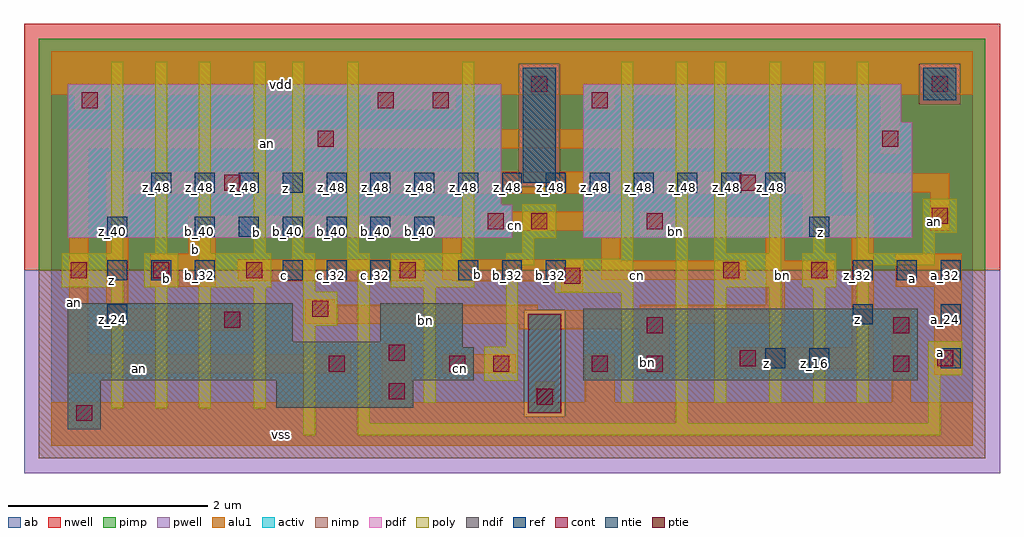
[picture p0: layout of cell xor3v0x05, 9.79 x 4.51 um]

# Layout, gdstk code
import gdstk
lib = gdstk.Library(unit=1e-6, precision=2.5e-09)
def R(c, l, rs):  # rectangles x0, y0, x1, y1
    for r in rs: c.add(gdstk.rectangle(r[:2], r[2:], *l))
def A(c, l, x, y, w, h, nx, ny, dx, dy):  # array of equal rectangles
    R(c, l, [(x+i*dx, y+j*dy, x+i*dx+w, y+j*dy+h) for i in range(nx) for j in range(ny)])
ndif = (3, 0)
pdif = (4, 0)
ntie = (5, 0)
ptie = (6, 0)
ref = (24, 0)
cont = (25, 0)
pwell = (41, 0)
nwell = (42, 0)
activ = (43, 0)
pimp = (44, 0)
nimp = (45, 0)
poly = (46, 0)
alu1 = (49, 0)
ab = (63, 0)

xor3v0x05 = lib.new_cell('xor3v0x05')
R(xor3v0x05, ndif, [(0.165,0.165,0.495,0.66), (2.255,0.385,3.63,0.66), (0.165,0.66,4.235,0.99), (5.335,0.66,8.69,1.375), (0.165,0.99,4.125,1.045), (0.165,1.045,2.42,1.43), (3.3,1.045,4.125,1.43)])
R(xor3v0x05, pdif, [(0.165,2.09,4.62,2.42), (5.335,2.09,8.635,3.245), (0.165,2.42,4.51,3.63), (5.335,3.245,8.525,3.63)])
R(xor3v0x05, ntie, [(4.73,2.64,5.06,3.795), (8.745,3.465,9.075,3.795)])
R(xor3v0x05, ptie, [(4.785,0.33,5.115,1.32)])
A(xor3v0x05, ref, 0.56, 1.66, 0.2, 0.2, 3, 1, 0.44, 0)
A(xor3v0x05, ref, 2.32, 1.66, 0.2, 0.2, 3, 1, 0.44, 0)
A(xor3v0x05, ref, 4.08, 1.66, 0.2, 0.2, 3, 1, 0.44, 0)
A(xor3v0x05, ref, 8.04, 1.66, 0.2, 0.2, 3, 1, 0.44, 0)
A(xor3v0x05, ref, 1.44, 2.1, 0.2, 0.2, 6, 1, 0.44, 0)
A(xor3v0x05, ref, 1, 2.54, 0.2, 0.2, 15, 1, 0.44, 0)
R(xor3v0x05, ref, [(7.16,0.78,7.36,0.98), (7.6,0.78,7.8,0.98), (8.92,0.78,9.12,0.98), (0.56,1.22,0.76,1.42), (8.04,1.22,8.24,1.42), (8.92,1.22,9.12,1.42), (0.56,2.1,0.76,2.3), (7.6,2.1,7.8,2.3)])
R(xor3v0x05, cont, [(0.25,0.25,0.41,0.41), (4.87,0.415,5.03,0.575), (3.385,0.47,3.545,0.63), (2.78,0.745,2.94,0.905), (3.99,0.745,4.15,0.905), (4.43,0.745,4.59,0.905), (5.42,0.745,5.58,0.905), (5.97,0.745,6.13,0.905), (8.445,0.745,8.605,0.905), (6.905,0.8,7.065,0.96), (8.885,0.8,9.045,0.96), (3.385,0.855,3.545,1.015), (5.97,1.13,6.13,1.29), (8.445,1.13,8.605,1.29), (1.735,1.185,1.895,1.345), (2.615,1.295,2.775,1.455), (5.145,1.625,5.305,1.785), (0.195,1.68,0.355,1.84), (1.02,1.68,1.18,1.84), (1.955,1.68,2.115,1.84), (3.495,1.68,3.655,1.84), (6.74,1.68,6.9,1.84), (7.62,1.68,7.78,1.84), (4.375,2.175,4.535,2.335), (4.815,2.175,4.975,2.335), (5.97,2.175,6.13,2.335), (8.83,2.23,8.99,2.39), (1.735,2.56,1.895,2.72), (6.905,2.56,7.065,2.72), (2.67,3,2.83,3.16), (8.335,3,8.495,3.16), (0.305,3.385,0.465,3.545), (3.275,3.385,3.435,3.545), (3.825,3.385,3.985,3.545), (5.42,3.385,5.58,3.545), (4.815,3.55,4.975,3.71), (8.83,3.55,8.99,3.71)])
R(xor3v0x05, pwell, [(-0.275,-0.275,9.515,1.76)])
R(xor3v0x05, nwell, [(-0.275,1.76,9.515,4.235)])
R(xor3v0x05, activ, [(0.165,0.165,0.495,0.66), (4.785,0.33,5.115,1.32), (2.255,0.385,3.63,0.66), (0.165,0.66,4.235,0.99), (5.335,0.66,8.69,1.375), (0.165,0.99,4.125,1.045), (0.165,1.045,2.42,1.43), (3.3,1.045,4.125,1.43), (0.165,2.09,4.62,2.42), (5.335,2.09,8.635,3.245), (0.165,2.42,4.51,3.63), (4.73,2.64,5.06,3.795), (5.335,3.245,8.525,3.63), (8.745,3.465,9.075,3.795)])
R(xor3v0x05, pimp, [(4.745,0.29,5.155,1.36), (-0.125,1.76,9.365,2.6), (-0.125,2.6,4.69,3.835), (5.1,2.6,9.365,3.425), (5.1,3.425,8.705,3.835), (9.115,3.425,9.365,3.835), (-0.125,3.835,9.365,4.085)])
R(xor3v0x05, nimp, [(-0.125,-0.125,9.365,0.29), (-0.125,0.29,4.745,1.36), (5.155,0.29,9.365,1.36), (-0.125,1.36,9.365,1.76), (4.69,2.6,5.1,3.835), (8.705,3.425,9.115,3.835)])
A(xor3v0x05, poly, 0.6, 0.38, 0.12, 1.21, 3, 1, 0.44, 0)
A(xor3v0x05, poly, 0.6, 1.93, 0.12, 1.925, 3, 1, 0.44, 0)
A(xor3v0x05, poly, 7.2, 1.93, 0.12, 1.925, 3, 1, 0.44, 0)
R(xor3v0x05, poly, [(2.525,0.105,2.645,1.205), (3.075,0.105,8.915,0.225), (3.075,0.225,3.195,1.755), (6.265,0.225,6.385,3.855), (8.795,0.225,8.915,0.71), (2.03,0.38,2.15,1.59), (3.735,0.435,3.855,1.59), (5.715,0.435,5.835,1.535), (6.65,0.435,6.77,1.59), (7.2,0.435,7.32,1.59), (7.64,0.435,7.76,1.59), (8.08,0.435,8.2,1.81), (4.34,0.655,4.68,0.995), (8.795,0.71,9.135,1.05), (4.56,0.995,4.68,1.81), (2.525,1.205,2.865,1.545), (5.055,1.535,5.835,1.875), (2.525,1.545,2.645,1.755), (0.105,1.59,0.72,1.93), (0.93,1.59,1.27,1.93), (1.48,1.59,2.205,1.93), (3.405,1.59,4.24,1.93), (6.65,1.59,7.32,1.93), (7.53,1.59,7.87,1.93), (2.415,1.755,2.645,1.93), (2.965,1.755,3.195,1.93), (4.56,1.81,4.845,1.93), (8.08,1.81,8.86,1.93), (5.715,1.875,5.835,3.855), (2.03,1.93,2.15,3.855), (2.415,1.93,2.535,3.855), (2.965,1.93,3.085,3.855), (4.12,1.93,4.24,3.855), (4.725,1.93,4.845,2.085), (6.65,1.93,6.77,3.855), (8.74,1.93,8.86,2.14), (4.725,2.085,5.065,2.425), (8.74,2.14,9.08,2.48)])
R(xor3v0x05, alu1, [(0,0,9.24,0.44), (3.315,0.44,3.615,1.03), (4.855,0.44,5.045,0.645), (5.35,0.44,5.65,0.92), (8.43,0.44,8.62,1.36), (8.855,0.715,9.13,1.595), (0.18,0.73,3.01,0.92), (3.92,0.73,4.66,0.92), (5.9,0.73,6.2,1.17), (6.82,0.77,8.25,0.99), (0.18,0.92,0.37,2.985), (8.03,0.99,8.25,2.09), (0.55,1.155,1.98,1.375), (4.69,1.17,6.2,1.225), (2.545,1.225,7.355,1.36), (2.545,1.36,4.88,1.415), (5.9,1.36,7.355,1.415), (0.55,1.375,0.77,2.53), (2.545,1.415,2.845,1.47), (7.165,1.415,7.355,1.665), (5.115,1.54,5.335,1.65), (0.99,1.595,1.65,1.925), (8.47,1.595,9.13,1.925), (1.87,1.65,3.74,1.87), (4.015,1.65,5.335,1.665), (3.92,1.665,5.335,1.87), (5.515,1.665,6.97,1.855), (7.165,1.665,7.85,1.855), (5.515,1.855,5.705,2.16), (7.165,1.855,7.355,2.105), (3.92,1.87,4.11,2.09), (1.375,1.925,1.65,2.09), (1.375,2.09,4.11,2.295), (7.535,2.09,8.25,2.31), (5.9,2.105,7.355,2.295), (4.305,2.16,5.705,2.35), (8.815,2.16,9.005,2.545), (1.375,2.295,4.015,2.31), (5.9,2.295,6.2,2.35), (7.535,2.31,7.755,2.53), (0.55,2.53,7.755,2.75), (7.935,2.545,9.005,2.735), (7.935,2.735,8.125,2.985), (8.32,2.93,8.51,3.52), (0.18,2.985,8.125,3.175), (0.235,3.37,0.535,3.52), (3.205,3.37,4.055,3.52), (5.35,3.37,5.65,3.52), (0,3.52,9.24,3.96)])
R(xor3v0x05, ab, [(0,0,9.24,3.96)])
xor3v0x05.add(gdstk.Label('vss', (2.31,0.11), layer=49, texttype=0))
xor3v0x05.add(gdstk.Label('a', (8.9225,0.935), layer=49, texttype=0))
xor3v0x05.add(gdstk.Label('z', (7.1775,0.825), layer=49, texttype=0))
xor3v0x05.add(gdstk.Label('a', (8.635,1.6775), layer=49, texttype=0))
xor3v0x05.add(gdstk.Label('z', (8.085,1.265), layer=49, texttype=0))
xor3v0x05.add(gdstk.Label('bn', (5.975,0.84), layer=49, texttype=0))
xor3v0x05.add(gdstk.Label('cn', (4.105,0.7775), layer=49, texttype=0))
xor3v0x05.add(gdstk.Label('an', (0.8875,0.7775), layer=49, texttype=0))
xor3v0x05.add(gdstk.Label('bn', (3.7475,1.2575), layer=49, texttype=0))
xor3v0x05.add(gdstk.Label('bn', (7.335,1.7125), layer=49, texttype=0))
xor3v0x05.add(gdstk.Label('cn', (5.8775,1.7125), layer=49, texttype=0))
xor3v0x05.add(gdstk.Label('an', (8.8625,2.255), layer=49, texttype=0))
xor3v0x05.add(gdstk.Label('z', (7.7125,2.145), layer=49, texttype=0))
xor3v0x05.add(gdstk.Label('bn', (6.2625,2.1525), layer=49, texttype=0))
xor3v0x05.add(gdstk.Label('b', (4.2725,1.715), layer=49, texttype=0))
xor3v0x05.add(gdstk.Label('c', (2.3375,1.705), layer=49, texttype=0))
xor3v0x05.add(gdstk.Label('b', (1.155,1.6775), layer=49, texttype=0))
xor3v0x05.add(gdstk.Label('b', (1.4425,1.965), layer=49, texttype=0))
xor3v0x05.add(gdstk.Label('cn', (4.655,2.2075), layer=49, texttype=0))
xor3v0x05.add(gdstk.Label('b', (2.0575,2.14), layer=49, texttype=0))
xor3v0x05.add(gdstk.Label('z', (0.605,1.6625), layer=49, texttype=0))
xor3v0x05.add(gdstk.Label('z', (2.35,2.585), layer=49, texttype=0))
xor3v0x05.add(gdstk.Label('an', (0.2275,1.435), layer=49, texttype=0))
xor3v0x05.add(gdstk.Label('an', (2.165,3.0325), layer=49, texttype=0))
xor3v0x05.add(gdstk.Label('vdd', (2.31,3.63), layer=49, texttype=0))
xor3v0x05.add(gdstk.Label('z_48', (5.45,2.59), layer=24, texttype=0))
xor3v0x05.add(gdstk.Label('z_48', (5.89,2.59), layer=24, texttype=0))
xor3v0x05.add(gdstk.Label('z_48', (6.33,2.59), layer=24, texttype=0))
xor3v0x05.add(gdstk.Label('z_24', (0.61,1.27), layer=24, texttype=0))
xor3v0x05.add(gdstk.Label('z_32', (0.61,1.71), layer=24, texttype=0))
xor3v0x05.add(gdstk.Label('z_40', (0.61,2.15), layer=24, texttype=0))
xor3v0x05.add(gdstk.Label('z_48', (6.77,2.59), layer=24, texttype=0))
xor3v0x05.add(gdstk.Label('z_16', (7.21,0.83), layer=24, texttype=0))
xor3v0x05.add(gdstk.Label('z_48', (7.21,2.59), layer=24, texttype=0))
xor3v0x05.add(gdstk.Label('z_16', (7.65,0.83), layer=24, texttype=0))
xor3v0x05.add(gdstk.Label('z_40', (7.65,2.15), layer=24, texttype=0))
xor3v0x05.add(gdstk.Label('z_24', (8.09,1.27), layer=24, texttype=0))
xor3v0x05.add(gdstk.Label('z_32', (8.09,1.71), layer=24, texttype=0))
xor3v0x05.add(gdstk.Label('a_32', (8.53,1.71), layer=24, texttype=0))
xor3v0x05.add(gdstk.Label('a_16', (8.97,0.83), layer=24, texttype=0))
xor3v0x05.add(gdstk.Label('a_24', (8.97,1.27), layer=24, texttype=0))
xor3v0x05.add(gdstk.Label('a_32', (8.97,1.71), layer=24, texttype=0))
xor3v0x05.add(gdstk.Label('b_32', (1.05,1.71), layer=24, texttype=0))
xor3v0x05.add(gdstk.Label('z_48', (1.05,2.59), layer=24, texttype=0))
xor3v0x05.add(gdstk.Label('b_32', (1.49,1.71), layer=24, texttype=0))
xor3v0x05.add(gdstk.Label('b_40', (1.49,2.15), layer=24, texttype=0))
xor3v0x05.add(gdstk.Label('z_48', (1.49,2.59), layer=24, texttype=0))
xor3v0x05.add(gdstk.Label('b_40', (1.93,2.15), layer=24, texttype=0))
xor3v0x05.add(gdstk.Label('z_48', (1.93,2.59), layer=24, texttype=0))
xor3v0x05.add(gdstk.Label('c_32', (2.37,1.71), layer=24, texttype=0))
xor3v0x05.add(gdstk.Label('b_40', (2.37,2.15), layer=24, texttype=0))
xor3v0x05.add(gdstk.Label('z_48', (2.37,2.59), layer=24, texttype=0))
xor3v0x05.add(gdstk.Label('c_32', (2.81,1.71), layer=24, texttype=0))
xor3v0x05.add(gdstk.Label('b_40', (2.81,2.15), layer=24, texttype=0))
xor3v0x05.add(gdstk.Label('z_48', (2.81,2.59), layer=24, texttype=0))
xor3v0x05.add(gdstk.Label('c_32', (3.25,1.71), layer=24, texttype=0))
xor3v0x05.add(gdstk.Label('b_40', (3.25,2.15), layer=24, texttype=0))
xor3v0x05.add(gdstk.Label('z_48', (3.25,2.59), layer=24, texttype=0))
xor3v0x05.add(gdstk.Label('b_40', (3.69,2.15), layer=24, texttype=0))
xor3v0x05.add(gdstk.Label('z_48', (3.69,2.59), layer=24, texttype=0))
xor3v0x05.add(gdstk.Label('b_32', (4.13,1.71), layer=24, texttype=0))
xor3v0x05.add(gdstk.Label('z_48', (4.13,2.59), layer=24, texttype=0))
xor3v0x05.add(gdstk.Label('b_32', (4.57,1.71), layer=24, texttype=0))
xor3v0x05.add(gdstk.Label('z_48', (4.57,2.59), layer=24, texttype=0))
xor3v0x05.add(gdstk.Label('b_32', (5.01,1.71), layer=24, texttype=0))
xor3v0x05.add(gdstk.Label('z_48', (5.01,2.59), layer=24, texttype=0))

lib.write_gds('xor3v0x05.gds')
